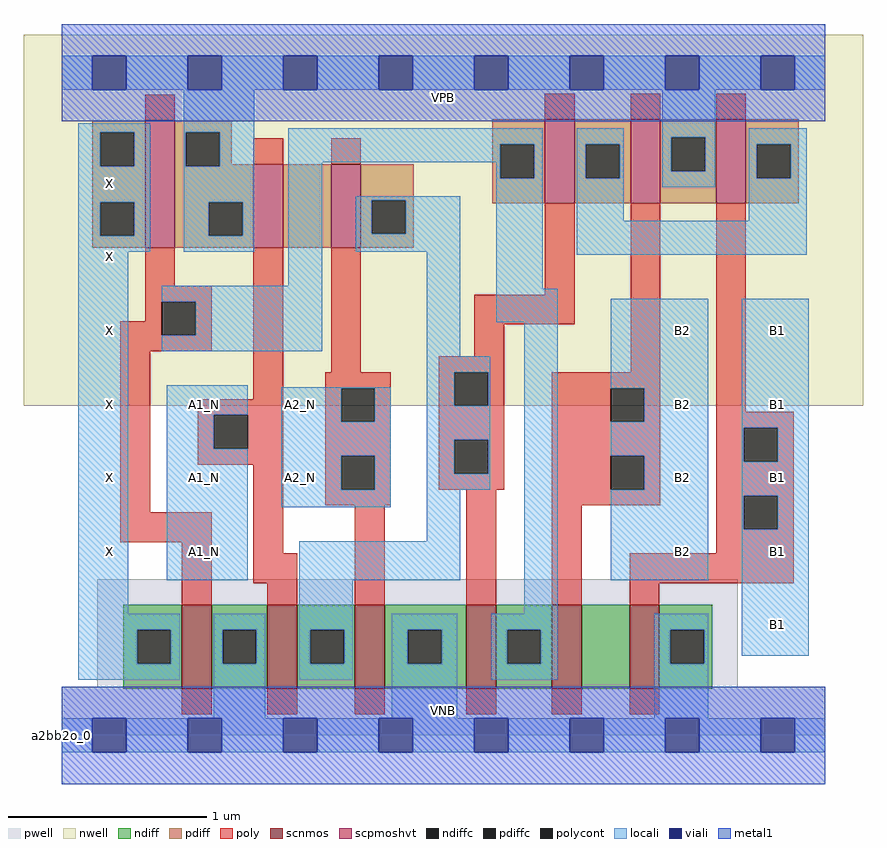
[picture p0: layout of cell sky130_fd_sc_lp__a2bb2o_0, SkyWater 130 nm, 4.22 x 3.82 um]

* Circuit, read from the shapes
.subckt sky130_fd_sc_lp__a2bb2o_0 A1_N A2_N B1 B2 VGND VNB VPB VPWR X
XM1 VGND n1 X VNB sky130_fd_pr__nfet_01v8 w=0.42 l=0.15
XM2 n2 A1_N VGND VNB sky130_fd_pr__nfet_01v8 w=0.42 l=0.15
XM3 VGND A2_N n2 VNB sky130_fd_pr__nfet_01v8 w=0.42 l=0.15
XM4 n1 n2 VGND VNB sky130_fd_pr__nfet_01v8 w=0.42 l=0.15
XM5 n3 B2 n1 VNB sky130_fd_pr__nfet_01v8 w=0.42 l=0.15
XM6 VGND B1 n3 VNB sky130_fd_pr__nfet_01v8 w=0.42 l=0.15
XM7 VPWR n1 X VPB sky130_fd_pr__pfet_01v8_hvt w=0.64 l=0.15
XM8 n4 A1_N VPWR VPB sky130_fd_pr__pfet_01v8_hvt w=0.42 l=0.15
XM9 n2 A2_N n4 VPB sky130_fd_pr__pfet_01v8_hvt w=0.42 l=0.15
XM10 n5 n2 n1 VPB sky130_fd_pr__pfet_01v8_hvt w=0.42 l=0.15
XM11 VPWR B2 n5 VPB sky130_fd_pr__pfet_01v8_hvt w=0.42 l=0.15
XM12 n5 B1 VPWR VPB sky130_fd_pr__pfet_01v8_hvt w=0.42 l=0.15
.ends

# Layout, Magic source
magic
tech sky130A
magscale 1 2
<< nwell >>
rect -38 331 806 704
<< pwell >>
rect 36 49 680 157
rect 0 0 768 49
<< scnmos >>
rect 121 47 151 131
rect 207 47 237 131
rect 295 47 325 131
rect 407 47 437 131
rect 493 47 523 131
rect 571 47 601 131
<< scpmoshvt >>
rect 84 490 114 618
rect 193 490 223 574
rect 271 490 301 574
rect 486 535 516 619
rect 572 535 602 619
rect 658 535 688 619
<< ndiff >>
rect 62 106 121 131
rect 62 72 76 106
rect 110 72 121 106
rect 62 47 121 72
rect 151 106 207 131
rect 151 72 162 106
rect 196 72 207 106
rect 151 47 207 72
rect 237 106 295 131
rect 237 72 250 106
rect 284 72 295 106
rect 237 47 295 72
rect 325 106 407 131
rect 325 72 348 106
rect 382 72 407 106
rect 325 47 407 72
rect 437 106 493 131
rect 437 72 448 106
rect 482 72 493 106
rect 437 47 493 72
rect 523 47 571 131
rect 601 106 654 131
rect 601 72 612 106
rect 646 72 654 106
rect 601 47 654 72
<< pdiff >>
rect 31 606 84 618
rect 31 572 39 606
rect 73 572 84 606
rect 31 536 84 572
rect 31 502 39 536
rect 73 502 84 536
rect 31 490 84 502
rect 114 606 171 618
rect 114 572 125 606
rect 159 574 171 606
rect 433 594 486 619
rect 159 572 193 574
rect 114 536 193 572
rect 114 502 148 536
rect 182 502 193 536
rect 114 490 193 502
rect 223 490 271 574
rect 301 538 354 574
rect 301 504 312 538
rect 346 504 354 538
rect 433 560 441 594
rect 475 560 486 594
rect 433 535 486 560
rect 516 594 572 619
rect 516 560 527 594
rect 561 560 572 594
rect 516 535 572 560
rect 602 601 658 619
rect 602 567 613 601
rect 647 567 658 601
rect 602 535 658 567
rect 688 594 741 619
rect 688 560 699 594
rect 733 560 741 594
rect 688 535 741 560
rect 301 490 354 504
<< ndiffc >>
rect 76 72 110 106
rect 162 72 196 106
rect 250 72 284 106
rect 348 72 382 106
rect 448 72 482 106
rect 612 72 646 106
<< pdiffc >>
rect 39 572 73 606
rect 39 502 73 536
rect 125 572 159 606
rect 148 502 182 536
rect 312 504 346 538
rect 441 560 475 594
rect 527 560 561 594
rect 613 567 647 601
rect 699 560 733 594
<< poly >>
rect 84 618 114 644
rect 486 619 516 645
rect 572 619 602 645
rect 658 619 688 645
rect 193 574 223 600
rect 271 574 301 600
rect 84 452 114 490
rect 84 436 151 452
rect 84 416 101 436
rect 59 402 101 416
rect 135 402 151 436
rect 59 386 151 402
rect 59 224 89 386
rect 193 338 223 490
rect 271 365 301 490
rect 486 443 516 535
rect 415 413 516 443
rect 415 381 445 413
rect 379 365 445 381
rect 572 365 602 535
rect 137 322 223 338
rect 137 288 153 322
rect 187 288 223 322
rect 137 272 223 288
rect 59 194 151 224
rect 121 131 151 194
rect 193 183 223 272
rect 265 349 331 365
rect 265 315 281 349
rect 315 315 331 349
rect 265 281 331 315
rect 265 247 281 281
rect 315 247 331 281
rect 379 331 395 365
rect 429 331 445 365
rect 379 297 445 331
rect 379 263 395 297
rect 429 263 445 297
rect 379 247 445 263
rect 493 349 602 365
rect 493 315 552 349
rect 586 315 602 349
rect 493 281 602 315
rect 493 247 552 281
rect 586 247 602 281
rect 265 231 331 247
rect 193 153 237 183
rect 207 131 237 153
rect 295 131 325 231
rect 407 131 437 247
rect 493 231 602 247
rect 658 325 688 535
rect 658 309 736 325
rect 658 275 686 309
rect 720 275 736 309
rect 658 241 736 275
rect 493 131 523 231
rect 658 207 686 241
rect 720 207 736 241
rect 658 183 736 207
rect 571 153 736 183
rect 571 131 601 153
rect 121 21 151 47
rect 207 21 237 47
rect 295 21 325 47
rect 407 21 437 47
rect 493 21 523 47
rect 571 21 601 47
<< polycont >>
rect 101 402 135 436
rect 153 288 187 322
rect 281 315 315 349
rect 281 247 315 281
rect 395 331 429 365
rect 395 263 429 297
rect 552 315 586 349
rect 552 247 586 281
rect 686 275 720 309
rect 686 207 720 241
<< locali >>
rect 0 649 31 683
rect 65 649 127 683
rect 161 649 223 683
rect 257 649 319 683
rect 353 649 415 683
rect 449 649 511 683
rect 545 649 607 683
rect 641 649 703 683
rect 737 649 768 683
rect 17 606 89 615
rect 17 572 39 606
rect 73 572 89 606
rect 17 536 89 572
rect 17 502 39 536
rect 73 502 89 536
rect 17 486 89 502
rect 123 606 194 649
rect 123 572 125 606
rect 159 572 194 606
rect 123 536 194 572
rect 123 502 148 536
rect 182 502 194 536
rect 123 486 194 502
rect 228 594 484 610
rect 228 576 441 594
rect 17 122 67 486
rect 228 452 262 576
rect 437 560 441 576
rect 475 560 484 594
rect 296 538 401 542
rect 296 504 312 538
rect 346 504 401 538
rect 296 486 401 504
rect 101 436 262 452
rect 135 402 262 436
rect 101 386 262 402
rect 367 381 401 486
rect 437 449 484 560
rect 518 594 565 610
rect 518 560 527 594
rect 561 560 565 594
rect 518 517 565 560
rect 604 601 657 649
rect 604 567 613 601
rect 647 567 657 601
rect 604 551 657 567
rect 691 594 749 610
rect 691 560 699 594
rect 733 560 749 594
rect 691 517 749 560
rect 518 483 749 517
rect 437 415 499 449
rect 367 365 431 381
rect 106 322 187 352
rect 106 288 153 322
rect 106 156 187 288
rect 221 349 331 350
rect 221 315 281 349
rect 315 315 331 349
rect 221 281 331 315
rect 221 247 281 281
rect 315 247 331 281
rect 221 229 331 247
rect 367 331 395 365
rect 429 331 431 365
rect 367 297 431 331
rect 367 263 395 297
rect 429 263 431 297
rect 367 247 431 263
rect 367 195 401 247
rect 239 156 401 195
rect 17 106 119 122
rect 17 72 76 106
rect 110 72 119 106
rect 17 56 119 72
rect 153 106 205 122
rect 153 72 162 106
rect 196 72 205 106
rect 153 17 205 72
rect 239 106 293 156
rect 465 122 499 415
rect 552 349 650 439
rect 586 315 650 349
rect 552 281 650 315
rect 586 247 650 281
rect 552 156 650 247
rect 684 309 751 439
rect 684 275 686 309
rect 720 275 751 309
rect 684 241 751 275
rect 684 207 686 241
rect 720 207 751 241
rect 239 72 250 106
rect 284 72 293 106
rect 239 56 293 72
rect 332 106 398 122
rect 332 72 348 106
rect 382 72 398 106
rect 332 17 398 72
rect 432 106 499 122
rect 432 72 448 106
rect 482 72 499 106
rect 432 56 499 72
rect 596 106 650 122
rect 596 72 612 106
rect 646 72 650 106
rect 684 80 751 207
rect 596 17 650 72
rect 0 -17 31 17
rect 65 -17 127 17
rect 161 -17 223 17
rect 257 -17 319 17
rect 353 -17 415 17
rect 449 -17 511 17
rect 545 -17 607 17
rect 641 -17 703 17
rect 737 -17 768 17
<< viali >>
rect 31 649 65 683
rect 127 649 161 683
rect 223 649 257 683
rect 319 649 353 683
rect 415 649 449 683
rect 511 649 545 683
rect 607 649 641 683
rect 703 649 737 683
rect 31 -17 65 17
rect 127 -17 161 17
rect 223 -17 257 17
rect 319 -17 353 17
rect 415 -17 449 17
rect 511 -17 545 17
rect 607 -17 641 17
rect 703 -17 737 17
<< metal1 >>
rect 0 683 768 715
rect 0 649 31 683
rect 65 649 127 683
rect 161 649 223 683
rect 257 649 319 683
rect 353 649 415 683
rect 449 649 511 683
rect 545 649 607 683
rect 641 649 703 683
rect 737 649 768 683
rect 0 617 768 649
rect 0 17 768 49
rect 0 -17 31 17
rect 65 -17 127 17
rect 161 -17 223 17
rect 257 -17 319 17
rect 353 -17 415 17
rect 449 -17 511 17
rect 545 -17 607 17
rect 641 -17 703 17
rect 737 -17 768 17
rect 0 -49 768 -17
<< labels >>
flabel pwell s 0 0 768 49 0 FreeSans 200 0 0 0 VNB
port 6 nsew ground bidirectional
flabel nwell s 0 617 768 666 0 FreeSans 200 0 0 0 VPB
port 7 nsew power bidirectional
rlabel comment s 0 0 0 0 4 a2bb2o_0
flabel metal1 s 0 617 768 666 0 FreeSans 340 0 0 0 VPWR
port 8 nsew power bidirectional
flabel metal1 s 0 0 768 49 0 FreeSans 340 0 0 0 VGND
port 5 nsew ground bidirectional
flabel locali s 127 168 161 202 0 FreeSans 340 0 0 0 A1_N
port 1 nsew signal input
flabel locali s 127 242 161 276 0 FreeSans 340 0 0 0 A1_N
port 1 nsew signal input
flabel locali s 127 316 161 350 0 FreeSans 340 0 0 0 A1_N
port 1 nsew signal input
flabel locali s 223 242 257 276 0 FreeSans 340 0 0 0 A2_N
port 2 nsew signal input
flabel locali s 223 316 257 350 0 FreeSans 340 0 0 0 A2_N
port 2 nsew signal input
flabel locali s 703 94 737 128 0 FreeSans 340 0 0 0 B1
port 3 nsew signal input
flabel locali s 703 168 737 202 0 FreeSans 340 0 0 0 B1
port 3 nsew signal input
flabel locali s 703 242 737 276 0 FreeSans 340 0 0 0 B1
port 3 nsew signal input
flabel locali s 703 316 737 350 0 FreeSans 340 0 0 0 B1
port 3 nsew signal input
flabel locali s 703 390 737 424 0 FreeSans 340 0 0 0 B1
port 3 nsew signal input
flabel locali s 607 168 641 202 0 FreeSans 340 0 0 0 B2
port 4 nsew signal input
flabel locali s 607 242 641 276 0 FreeSans 340 0 0 0 B2
port 4 nsew signal input
flabel locali s 607 316 641 350 0 FreeSans 340 0 0 0 B2
port 4 nsew signal input
flabel locali s 607 390 641 424 0 FreeSans 340 0 0 0 B2
port 4 nsew signal input
flabel locali s 31 168 65 202 0 FreeSans 340 0 0 0 X
port 9 nsew signal output
flabel locali s 31 242 65 276 0 FreeSans 340 0 0 0 X
port 9 nsew signal output
flabel locali s 31 316 65 350 0 FreeSans 340 0 0 0 X
port 9 nsew signal output
flabel locali s 31 390 65 424 0 FreeSans 340 0 0 0 X
port 9 nsew signal output
flabel locali s 31 464 65 498 0 FreeSans 340 0 0 0 X
port 9 nsew signal output
flabel locali s 31 538 65 572 0 FreeSans 340 0 0 0 X
port 9 nsew signal output
<< properties >>
string LEFsite unit
string LEFclass CORE
string FIXED_BBOX 0 0 768 666
string GDS_FILE $PDKPATH/libs.ref/sky130_fd_sc_lp/gds/sky130_fd_sc_lp.gds
string LEFsymmetry X Y R90
string GDS_END 5894954
string GDS_START 5886394
<< end >>
